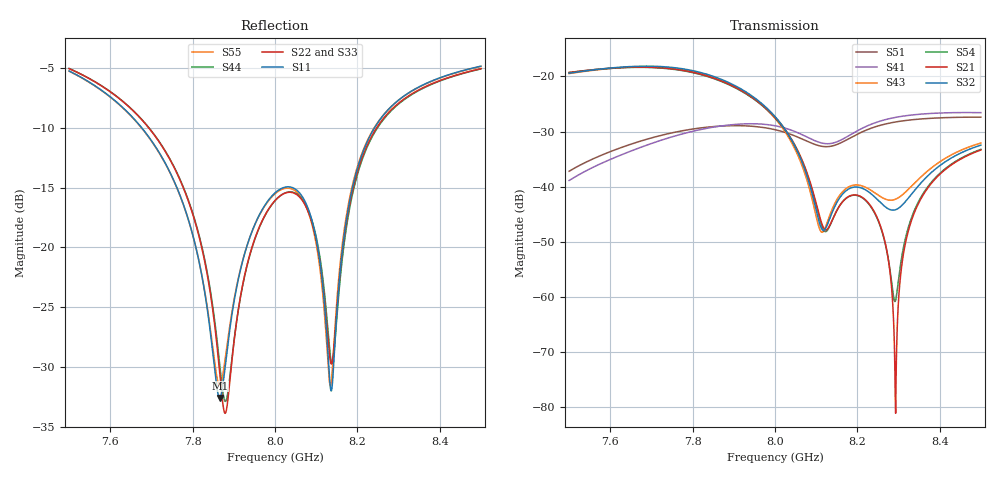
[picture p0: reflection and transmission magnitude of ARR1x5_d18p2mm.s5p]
! Touchstone file exported from HFSS 2025.1.0
!  File:  C:/Users/user/Documents/Ansoft/TFG_UWB-MIMO-Array.aedt
!  Generated:  08:09:03 PM Nov 16, 2026
!  Design:  ARR1x5_US3_PS4_2_1_dparam
!  Project:  TFG_UWB-MIMO-Array
!  Setup:  Setup_ch9
!  Solution:  Sweep_7p5_8p5
! Variables:
!  arr_d = 18.2mm
!  board_m = 13mm
!  board_x = 98.8mm
!  board_y = 26mm
!  cu_t = 0.035mm
!  line_w = 3.92mm
!  pad_xy = 22mm
!  pad_zn = 25mm
!  pad_zp = 33mm
!  par_L = 7.46mm
!  par_W = 10mm
!  par_yc = 0.75mm
!  par_z = 1.035mm
!  patch_L = 6.222mm
!  patch_W = 11.421266mm
!  sub_h = 2.07mm
!  tr_l = 6.6mm
!  tr_w = 0.8mm
!  u_Lu = 2.65mm
!  u_Wu = 4.4mm
!  u_t = 0.8mm
!  u_y0 = -0.7mm
# GHz S MA R 50.000000
! Terminal data exported
! Port[1] = P1
! Port[2] = P2
! Port[3] = P3
! Port[4] = P4
! Port[5] = P5
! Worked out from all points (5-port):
!   1001 points, 7.5 GHz to 8.5 GHz, reference 50 ohm
!   strongest paths, dB at 7.5 GHz, 7.75 GHz, 8 GHz, 8.25 GHz, 8.5 GHz:
!     S32: -19.4, -18.4, -27.3, -42.5, -32.5
!     S21: -19.3, -18.6, -27.4, -46.0, -33.4
!     S54: -19.3, -18.7, -27.5, -46.1, -33.2
!     S43: -19.5, -18.5, -27.6, -41.5, -32.1
!     S41: -38.9, -31.0, -29.0, -28.2, -26.6
!     S51: -37.2, -30.2, -29.7, -29.0, -27.4
!   lowest |S11| = -32.6 dB at 7.866 GHz (marker M1), VSWR 1.05, Z = 48 + j1.16 ohm
!   |S11| at or under -10 dB: 7.676 GHz to 8.242 GHz (565.5 MHz wide, 7.11 % of centre)
